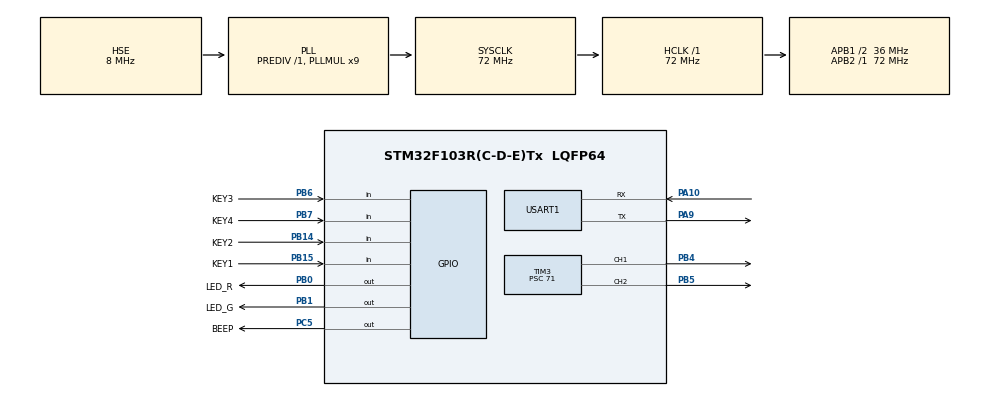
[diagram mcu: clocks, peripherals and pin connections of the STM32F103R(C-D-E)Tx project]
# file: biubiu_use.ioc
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Dma.Request0=USART1_RX
Dma.Request1=USART1_TX
Dma.USART1_RX.0.Direction=DMA_PERIPH_TO_MEMORY
Dma.USART1_RX.0.Instance=DMA1_Channel5
Dma.USART1_RX.0.MemDataAlignment=DMA_MDATAALIGN_BYTE
Dma.USART1_RX.0.MemInc=DMA_MINC_ENABLE
Dma.USART1_RX.0.Mode=DMA_NORMAL
Dma.USART1_RX.0.PeriphDataAlignment=DMA_PDATAALIGN_BYTE
Dma.USART1_RX.0.PeriphInc=DMA_PINC_DISABLE
Dma.USART1_RX.0.Priority=DMA_PRIORITY_LOW
Dma.USART1_TX.1.Direction=DMA_MEMORY_TO_PERIPH
Dma.USART1_TX.1.Instance=DMA1_Channel4
Dma.USART1_TX.1.MemDataAlignment=DMA_MDATAALIGN_BYTE
Dma.USART1_TX.1.MemInc=DMA_MINC_ENABLE
Dma.USART1_TX.1.Mode=DMA_NORMAL
Dma.USART1_TX.1.PeriphDataAlignment=DMA_PDATAALIGN_BYTE
Dma.USART1_TX.1.PeriphInc=DMA_PINC_DISABLE
Dma.USART1_TX.1.Priority=DMA_PRIORITY_LOW
FREERTOS.Tasks01=defaultTask,0,128,StartDefaultTask,Default,NULL,Dynamic,NULL,NULL;OLED_Task,-3,256,OLED_Task_fucation,Default,NULL,Dynamic,NULL,NULL;Uart_Task,0,256,Uart_Task_Function,Default,NULL,Dynamic,NULL,NULL;Servo_Task,-3,256,Servo_Task_Function,Default,NULL,Dynamic,NULL,NULL;LED_Task,-3,128,LED_Task_Function,Default,NULL,Dynamic,NULL,NULL;KEY_Task,1,128,KEY_Task_Function,Default,NULL,Dynamic,NULL,NULL;Black_line_Task,0,256,Black_line_Function,Default,NULL,Dynamic,NULL,NULL
FREERTOS.configTOTAL_HEAP_SIZE=20000
Mcu.Family=STM32F1
Mcu.Name=STM32F103R(C-D-E)Tx
Mcu.Package=LQFP64
NVIC.DMA1_Channel4_IRQn=true\:5\:0\:false\:false\:true\:true\:false\:true\:true
NVIC.DMA1_Channel5_IRQn=true\:5\:0\:false\:false\:true\:true\:false\:true\:true
NVIC.PriorityGroup=NVIC_PRIORITYGROUP_4
NVIC.TIM7_IRQn=true\:15\:0\:false\:false\:true\:false\:false\:true\:true
NVIC.TimeBase=TIM7_IRQn
NVIC.TimeBaseIP=TIM7
NVIC.USART1_IRQn=true\:5\:0\:false\:false\:true\:true\:true\:true\:true
PA10.Mode=Asynchronous
PA10.Signal=USART1_RX
PA13.Mode=Serial_Wire
PA13.Signal=SYS_JTMS-SWDIO
PA14.Mode=Serial_Wire
PA14.Signal=SYS_JTCK-SWCLK
PA9.Mode=Asynchronous
PA9.Signal=USART1_TX
PB0.GPIO_Label=LED_R
PB0.Signal=GPIO_Output
PB1.GPIO_Label=LED_G
PB1.Signal=GPIO_Output
PB14.GPIO_Label=KEY2
PB14.GPIO_PuPd=GPIO_PULLUP
PB14.Signal=GPIO_Input
PB15.GPIO_Label=KEY1
PB15.GPIO_PuPd=GPIO_PULLUP
PB15.Signal=GPIO_Input
PB4.Signal=S_TIM3_CH1
PB5.Signal=S_TIM3_CH2
PB6.GPIO_Label=KEY3
PB6.GPIO_PuPd=GPIO_PULLUP
PB6.Signal=GPIO_Input
PB7.GPIO_Label=KEY4
PB7.GPIO_PuPd=GPIO_PULLUP
PB7.Signal=GPIO_Input
PC5.GPIO_Label=BEEP
PC5.Signal=GPIO_Output
PD0-OSC_IN.Mode=HSE-External-Oscillator
PD0-OSC_IN.Signal=RCC_OSC_IN
PD1-OSC_OUT.Mode=HSE-External-Oscillator
PD1-OSC_OUT.Signal=RCC_OSC_OUT
ProjectManager.HeapSize=0x2000
ProjectManager.StackSize=0xF00
ProjectManager.TargetToolchain=MDK-ARM V5.32
RCC.AHBFreq_Value=72000000
RCC.APB1CLKDivider=RCC_HCLK_DIV2
RCC.APB1Freq_Value=36000000
RCC.APB1TimFreq_Value=72000000
RCC.APB2Freq_Value=72000000
RCC.APB2TimFreq_Value=72000000
RCC.HCLKFreq_Value=72000000
RCC.PLLMUL=RCC_PLL_MUL9
RCC.PLLSourceVirtual=RCC_PLLSOURCE_HSE
RCC.SYSCLKFreq_VALUE=72000000
RCC.SYSCLKSource=RCC_SYSCLKSOURCE_PLLCLK
RCC.USBFreq_Value=72000000
SH.S_TIM3_CH1.0=TIM3_CH1,PWM Generation1 CH1
SH.S_TIM3_CH2.0=TIM3_CH2,PWM Generation2 CH2
TIM3.Channel-PWM\ Generation1\ CH1=TIM_CHANNEL_1
TIM3.Channel-PWM\ Generation2\ CH2=TIM_CHANNEL_2
TIM3.Period=19999
TIM3.Prescaler=71
USART1.VirtualMode=VM_ASYNC
VP_FREERTOS_VS_CMSIS_V1.Mode=CMSIS_V1
VP_SYS_VS_tim7.Mode=TIM7
board=custom

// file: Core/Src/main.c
/* USER CODE BEGIN Header */
/**
  ******************************************************************************
  * @file           : main.c
  * @brief          : Main program body
  ******************************************************************************
  * @attention
  *
  * Copyright (c) 2023 STMicroelectronics.
  * All rights reserved.
  *
  * This software is licensed under terms that can be found in the LICENSE file
  * in the root directory of this software component.
  * If no LICENSE file comes with this software, it is provided AS-IS.
  *
  ******************************************************************************
  */
/* USER CODE END Header */
#include "main.h"
#include "cmsis_os.h"
#include "dma.h"
#include "tim.h"
#include "usart.h"
#include "gpio.h"

void SystemClock_Config(void);
void MX_FREERTOS_Init(void);

int main(void)
{

  /* MCU Configuration--------------------------------------------------------*/

  /* Reset of all peripherals, Initializes the Flash interface and the Systick. */
  HAL_Init();

  /* Configure the system clock */
  SystemClock_Config();

  /* Initialize all configured peripherals */
  MX_GPIO_Init();
  MX_DMA_Init();
  MX_USART1_UART_Init();
  MX_TIM3_Init();
  /* USER CODE BEGIN 2 */
    HAL_TIM_PWM_Start(&htim3,TIM_CHANNEL_1);
    HAL_TIM_PWM_Start(&htim3,TIM_CHANNEL_2);
    Linux_GPIO_Port->ODR|=Linux_Pin;
  /* USER CODE END 2 */

  /* Call init function for freertos objects (in freertos.c) */
  MX_FREERTOS_Init();

  /* Start scheduler */
  osKernelStart();

  /* We should never get here as control is now taken by the scheduler */
  /* Infinite loop */
  while (1)
  {

  }
}

void SystemClock_Config(void)
{
  RCC_OscInitTypeDef RCC_OscInitStruct = {0};
  RCC_ClkInitTypeDef RCC_ClkInitStruct = {0};

  /** Initializes the RCC Oscillators according to the specified parameters
  * in the RCC_OscInitTypeDef structure.
  */
  RCC_OscInitStruct.OscillatorType = RCC_OSCILLATORTYPE_HSE;
  RCC_OscInitStruct.HSEState = RCC_HSE_ON;
  RCC_OscInitStruct.HSEPredivValue = RCC_HSE_PREDIV_DIV1;
  RCC_OscInitStruct.HSIState = RCC_HSI_ON;
  RCC_OscInitStruct.PLL.PLLState = RCC_PLL_ON;
  RCC_OscInitStruct.PLL.PLLSource = RCC_PLLSOURCE_HSE;
  RCC_OscInitStruct.PLL.PLLMUL = RCC_PLL_MUL9;
  if (HAL_RCC_OscConfig(&RCC_OscInitStruct) != HAL_OK)
  {
    Error_Handler();
  }

  /** Initializes the CPU, AHB and APB buses clocks
  */
  RCC_ClkInitStruct.ClockType = RCC_CLOCKTYPE_HCLK|RCC_CLOCKTYPE_SYSCLK
                              |RCC_CLOCKTYPE_PCLK1|RCC_CLOCKTYPE_PCLK2;
  RCC_ClkInitStruct.SYSCLKSource = RCC_SYSCLKSOURCE_PLLCLK;
  RCC_ClkInitStruct.AHBCLKDivider = RCC_SYSCLK_DIV1;
  RCC_ClkInitStruct.APB1CLKDivider = RCC_HCLK_DIV2;
  RCC_ClkInitStruct.APB2CLKDivider = RCC_HCLK_DIV1;

  if (HAL_RCC_ClockConfig(&RCC_ClkInitStruct, FLASH_LATENCY_2) != HAL_OK)
  {
    Error_Handler();
  }
}

void HAL_TIM_PeriodElapsedCallback(TIM_HandleTypeDef *htim)
{
  if (htim->Instance == TIM7) {
    HAL_IncTick();
  }
}

void Error_Handler(void)
{
  __disable_irq();
  while (1)
  {
  }
}

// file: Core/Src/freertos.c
/* USER CODE BEGIN Header */
/**
  ******************************************************************************
  * File Name          : freertos.c
  * Description        : Code for freertos applications
  ******************************************************************************
  * @attention
  *
  * Copyright (c) 2023 STMicroelectronics.
  * All rights reserved.
  *
  * This software is licensed under terms that can be found in the LICENSE file
  * in the root directory of this software component.
  * If no LICENSE file comes with this software, it is provided AS-IS.
  *
  ******************************************************************************
  */
/* USER CODE END Header */

#include "FreeRTOS.h"
#include "task.h"
#include "main.h"
#include "cmsis_os.h"

/* USER CODE BEGIN Includes */
#include "dma.h"
#include "usart.h"
#include "fashion_star_uart_servo.h"
#include "ring_buffer.h"
/* USER CODE END Includes */

/* USER CODE BEGIN PD */

#define Back_X_Start 1665
#define Back_X_End   1330

#define Back_Y_Start 1338
#define Back_Y_End   1646

#define Black_X_Start 1525
#define Black_X_End   1334

#define Black_Y_Start 1338
#define Black_Y_End   1460

#define Back_Center_x   1488
#define Back_Center_y   1480 //1645

#define X TIM3->CCR1
#define Y TIM3->CCR2

typedef struct {
    uint16_t x;
    uint16_t y;
    uint16_t time;
}Servo_date;
typedef struct {
    int point_coord[4][2];
}point_date;
typedef struct {
    int point[2];
}red_point;
/* USER CODE END PD */

/* USER CODE BEGIN PM */
uint8_t usart_1_date[40] = {0};
uint8_t biu=0;
extern Usart_DataTypeDef usart2;

uint16_t x_biu=Back_Center_x,y_biu=Back_Center_y;
/* USER CODE END PM */

/* USER CODE BEGIN Variables */
QueueHandle_t   servo_Queue =NULL;
QueueHandle_t   point_Queue =NULL;
QueueHandle_t   redpoint_Queue =NULL;
SemaphoreHandle_t usart1_RX_Sem_Handle = NULL;
SemaphoreHandle_t Black_line_Sem_Handle = NULL;
/* USER CODE END Variables */
osThreadId defaultTaskHandle;
osThreadId OLED_TaskHandle;
osThreadId Uart_TaskHandle;
osThreadId Servo_TaskHandle;
osThreadId LED_TaskHandle;
osThreadId KEY_TaskHandle;
osThreadId Black_line_TaskHandle;

/* USER CODE BEGIN FunctionPrototypes */
void Servo_Ctrl(uint16_t x,uint16_t y,uint16_t time);
uint8_t point_do(int16_t x,int16_t y,int16_t a,int16_t b);
/* USER CODE END FunctionPrototypes */

void StartDefaultTask(void const * argument);
void OLED_Task_fucation(void const * argument);
void Uart_Task_Function(void const * argument);
void Servo_Task_Function(void const * argument);
void LED_Task_Function(void const * argument);
void KEY_Task_Function(void const * argument);
void Black_line_Function(void const * argument);

void MX_FREERTOS_Init(void); /* (MISRA C 2004 rule 8.1) */

/* GetIdleTaskMemory prototype (linked to static allocation support) */
void vApplicationGetIdleTaskMemory( StaticTask_t **ppxIdleTaskTCBBuffer, StackType_t **ppxIdleTaskStackBuffer, uint32_t *pulIdleTaskStackSize );

/* USER CODE BEGIN GET_IDLE_TASK_MEMORY */
static StaticTask_t xIdleTaskTCBBuffer;
static StackType_t xIdleStack[configMINIMAL_STACK_SIZE];

void vApplicationGetIdleTaskMemory( StaticTask_t **ppxIdleTaskTCBBuffer, StackType_t **ppxIdleTaskStackBuffer, uint32_t *pulIdleTaskStackSize )
{
  *ppxIdleTaskTCBBuffer = &xIdleTaskTCBBuffer;
  *ppxIdleTaskStackBuffer = &xIdleStack[0];
  *pulIdleTaskStackSize = configMINIMAL_STACK_SIZE;
  /* place for user code */
}
/* USER CODE END GET_IDLE_TASK_MEMORY */

void MX_FREERTOS_Init(void) {

  /* USER CODE BEGIN RTOS_QUEUES */
  /* add queues, ... */
    servo_Queue = xQueueCreate((UBaseType_t ) 1,/* 消息队列的长度 */
                            (UBaseType_t ) sizeof(Servo_date));/* 消息的大小 */
    point_Queue = xQueueCreate((UBaseType_t ) 1,/* 消息队列的长度 */
                            (UBaseType_t ) sizeof(point_date));/* 消息的大小 */
    redpoint_Queue = xQueueCreate((UBaseType_t ) 1,/* 消息队列的长度 */
                            (UBaseType_t ) sizeof(red_point));/* 消息的大小 */
    usart1_RX_Sem_Handle  = xSemaphoreCreateBinary();

    Black_line_Sem_Handle = xSemaphoreCreateBinary();
  /* USER CODE END RTOS_QUEUES */

  /* Create the thread(s) */
  /* definition and creation of defaultTask */
  osThreadDef(defaultTask, StartDefaultTask, osPriorityNormal, 0, 128);
  defaultTaskHandle = osThreadCreate(osThread(defaultTask), NULL);

  /* definition and creation of OLED_Task */
  osThreadDef(OLED_Task, OLED_Task_fucation, osPriorityIdle, 0, 256);
  OLED_TaskHandle = osThreadCreate(osThread(OLED_Task), NULL);

  /* definition and creation of Uart_Task */
  osThreadDef(Uart_Task, Uart_Task_Function, osPriorityNormal, 0, 256);
  Uart_TaskHandle = osThreadCreate(osThread(Uart_Task), NULL);

  /* definition and creation of Servo_Task */
  osThreadDef(Servo_Task, Servo_Task_Function, osPriorityIdle, 0, 256);
  Servo_TaskHandle = osThreadCreate(osThread(Servo_Task), NULL);

  /* definition and creation of LED_Task */
  osThreadDef(LED_Task, LED_Task_Function, osPriorityIdle, 0, 128);
  LED_TaskHandle = osThreadCreate(osThread(LED_Task), NULL);

  /* definition and creation of KEY_Task */
  osThreadDef(KEY_Task, KEY_Task_Function, osPriorityAboveNormal, 0, 128);
  KEY_TaskHandle = osThreadCreate(osThread(KEY_Task), NULL);

  /* definition and creation of Black_line_Task */
  osThreadDef(Black_line_Task, Black_line_Function, osPriorityNormal, 0, 256);
  Black_line_TaskHandle = osThreadCreate(osThread(Black_line_Task), NULL);

}

void StartDefaultTask(void const * argument)
{
  /* USER CODE BEGIN StartDefaultTask */
  /* Infinite loop */
  for(;;)
  {
      LED_R_GPIO_Port->ODR^=LED_R_Pin;
        osDelay(100);
  }
  /* USER CODE END StartDefaultTask */
}

void OLED_Task_fucation(void const * argument)
{
  for(;;)
  {
        osDelay(1);
  }
}

void Uart_Task_Function(void const * argument)
{
  /* USER CODE BEGIN Uart_Task_Function */
  /* Infinite loop */
    int i=0,num,sign=0,date_long=18,Rx_long=38,num_black=0;

    static point_date Point_coord;
    static red_point Red_point;
    static int last_x,last_y;
    HAL_UART_Receive_DMA(&huart1, usart_1_date, Rx_long);
  for(;;)
  {
    if(xSemaphoreTake(usart1_RX_Sem_Handle, 100)==pdTRUE) /* 等待时间 */
    {
        vTaskSuspendAll();
          for(i=0;i<date_long;i++)
          {
              if(usart_1_date[i]==0X2C)
              {
                  num=i;
                  if(usart_1_date[num+1]==0X12)
                  {
                      if(Rx_long==38)
                        sign=1;
                      else
                      {
                          sign=0;
                          Rx_long=38;
                          date_long=18;
                      }

                  }
                  else if(usart_1_date[num+1]==0X21)
                  {
                      sign=2;
                      date_long=7;
                      Rx_long=14;
                  }
                  else
                    sign=0;
                  break;
              }
              LED_G_GPIO_Port->ODR&=~LED_G_Pin;
              sign=0;
          }
          xTaskResumeAll();

          if(sign==1)
          {

              LED_G_GPIO_Port->ODR|=LED_G_Pin;

              Point_coord.point_coord[0][0]=(int)(((int)usart_1_date[i+3]<<8) + (int)usart_1_date[i+2]);
              if(Point_coord.point_coord[0][0]>500)
                  Point_coord.point_coord[0][0]|=0XFFFF0000;
              Point_coord.point_coord[0][1]=(int)(((int)usart_1_date[i+5]<<8) + (int)usart_1_date[i+4]);
              if(Point_coord.point_coord[0][1]>500)
                  Point_coord.point_coord[0][1]|=0XFFFF0000;
              Point_coord.point_coord[1][0]=(int)(((int)usart_1_date[i+7]<<8) + (int)usart_1_date[i+6]);
              if(Point_coord.point_coord[1][0]>500)
                  Point_coord.point_coord[1][0]|=0XFFFF0000;
              Point_coord.point_coord[1][1]=(int)(((int)usart_1_date[i+9]<<8) + (int)usart_1_date[i+8]);
                if(Point_coord.point_coord[1][1]>500)
                   Point_coord.point_coord[1][1]|=0XFFFF0000;
              Point_coord.point_coord[2][0]=(int)(((int)usart_1_date[i+11]<<8) + (int)usart_1_date[i+10]);
                if(Point_coord.point_coord[2][0]>500)
                                  Point_coord.point_coord[2][0]|=0XFFFF0000;
              Point_coord.point_coord[2][1]=(int)(((int)usart_1_date[i+13]<<8) + (int)usart_1_date[i+12]);
                if(Point_coord.point_coord[2][1]>500)
                                  Point_coord.point_coord[2][1]|=0XFFFF0000;
              Point_coord.point_coord[3][0]=(int)(((int)usart_1_date[i+15]<<8) + (int)usart_1_date[i+14]);
                if(Point_coord.point_coord[3][0]>500)
                                  Point_coord.point_coord[3][0]|=0XFFFF0000;
              Point_coord.point_coord[3][1]=(int)(((int)usart_1_date[i+17]<<8) + (int)usart_1_date[i+16]);
                if(Point_coord.point_coord[3][1]>500)
                                  Point_coord.point_coord[3][1]|=0XFFFF0000;

              xQueueSend(point_Queue,&Point_coord,0);

                num_black++;

                if(num_black>40)
                {
                    num_black=0;
                    Linux_GPIO_Port->ODR&=~Linux_Pin;
                    BEEP_GPIO_Port->ODR^=BEEP_Pin;
                    osDelay(200);
                    BEEP_GPIO_Port->ODR^=BEEP_Pin;
                    osDelay(200);
                    BEEP_GPIO_Port->ODR^=BEEP_Pin;
                    osDelay(200);
                    BEEP_GPIO_Port->ODR^=BEEP_Pin;
                    osDelay(200);
                }

          }
          if(sign==2)
          {
              Red_point.point[0]=(int)(((int)usart_1_date[i+3]<<8) + (int)usart_1_date[i+2]);
              if(Red_point.point[0]>500)
                  Red_point.point[0]|=0XFFFF0000;
              Red_point.point[1]=(int)(((int)usart_1_date[i+5]<<8) + (int)usart_1_date[i+4]);
              if(Red_point.point[1]>500)
                  Red_point.point[1]|=0XFFFF0000;
              if(abs(last_x-Red_point.point[0])>150||abs(last_y-Red_point.point[1])>150)
                       LED_G_GPIO_Port->ODR&=~LED_G_Pin;
                else
                {
                    xQueueSend(redpoint_Queue,&Red_point,0);
                    last_x=Red_point.point[0];
                    last_y=Red_point.point[1];
                    LED_G_GPIO_Port->ODR|=LED_G_Pin;
                }

          }

        HAL_UART_Receive_DMA(&huart1, usart_1_date, Rx_long);
    }
    else
    LED_G_GPIO_Port->ODR&=~LED_G_Pin;
    osDelay(1);
  }
  /* USER CODE END Uart_Task_Function */
}

/* USER CODE BEGIN Header_Servo_Task_Function */
/**
* @brief Function implementing the Servo_Task thread.
* @param argument: Not used
* @retval None
*/
#define num_use 12
/* USER CODE END Header_Servo_Task_Function */
void Servo_Task_Function(void const * argument)
{
  /* USER CODE BEGIN Servo_Task_Function */
  /* Infinite loop */
    X=Back_Center_x;
    Y=Back_Center_y;
    static Servo_date servo;
    float angle[2];
    uint16_t time_use, i = 0;
  for(;;)
  {
    xQueueReceive( servo_Queue,&servo,portMAX_DELAY);
    time_use = servo.time / num_use;
      angle[0]=((int)servo.x-(int)X)/num_use;
      angle[1]=((int)servo.y-(int)Y)/num_use;
      for(i=0;i<num_use;i++)
      {
          X+=angle[0];
          Y+=angle[1];
          osDelay(time_use);
      }
      X=servo.x;
      Y=servo.y;
      osDelay(100);

  }
  /* USER CODE END Servo_Task_Function */
}

void LED_Task_Function(void const * argument)
{
  /* USER CODE BEGIN LED_Task_Function */
  /* Infinite loop */
    red_point Red_cood;
    static point_date Point_coord;
    static point_date Point_coord2;
    uint8_t point_select=0;
  for(;;)
  {
      if(biu==0)
      {
          xSemaphoreTake(Black_line_Sem_Handle,portMAX_DELAY);
          xQueueReceive( point_Queue,&Point_coord,portMAX_DELAY);

          Point_coord2.point_coord[0][0]=(Point_coord.point_coord[0][0]+Point_coord.point_coord[1][0])/2;
          Point_coord2.point_coord[0][1]=(Point_coord.point_coord[0][1]+Point_coord.point_coord[1][1])/2;
          Point_coord2.point_coord[1][0]=(Point_coord.point_coord[1][0]+Point_coord.point_coord[2][0])/2;
          Point_coord2.point_coord[1][1]=(Point_coord.point_coord[1][1]+Point_coord.point_coord[2][1])/2;
          Point_coord2.point_coord[2][0]=(Point_coord.point_coord[2][0]+Point_coord.point_coord[3][0])/2;
          Point_coord2.point_coord[2][1]=(Point_coord.point_coord[2][1]+Point_coord.point_coord[3][1])/2;
          Point_coord2.point_coord[3][0]=(Point_coord.point_coord[3][0]+Point_coord.point_coord[0][0])/2;
          Point_coord2.point_coord[3][1]=(Point_coord.point_coord[3][1]+Point_coord.point_coord[0][1])/2;
      }
      xQueueReceive( redpoint_Queue,&Red_cood,portMAX_DELAY);
//      vTaskSuspendAll();
       switch(point_select)
       {
           case 1:
               if(point_do(Red_cood.point[0],Red_cood.point[1],Point_coord2.point_coord[0][0],Point_coord2.point_coord[0][1])==1)
               {
//                   xTaskResumeAll();
                   osDelay(100);
                   point_select++;
               }
               break;
           case 0:
               if(point_do(Red_cood.point[0],Red_cood.point[1],Point_coord.point_coord[0][0],Point_coord.point_coord[0][1])==1)
               {
//                   xTaskResumeAll();
                   osDelay(100);
                   point_select++;

               }
               break;
           case 3:
               if(point_do(Red_cood.point[0],Red_cood.point[1],Point_coord2.point_coord[1][0],Point_coord2.point_coord[1][1])==1)
               {
//                   xTaskResumeAll();
                   osDelay(100);
                   point_select++;
               }
               break;
           case 2:
               if(point_do(Red_cood.point[0],Red_cood.point[1],Point_coord.point_coord[1][0],Point_coord.point_coord[1][1])==1)
               {
//                   xTaskResumeAll();
                   osDelay(100);
                   point_select++;

               }
               break;
           case 5:
               if(point_do(Red_cood.point[0],Red_cood.point[1],Point_coord2.point_coord[2][0],Point_coord2.point_coord[2][1])==1)
               {
//                   xTaskResumeAll();
                   osDelay(100);
                   point_select++;
               }
               break;
           case 4:
               if(point_do(Red_cood.point[0],Red_cood.point[1],Point_coord.point_coord[2][0],Point_coord.point_coord[2][1])==1)
               {
//                   xTaskResumeAll();
                   osDelay(100);
                   point_select++;

               }
               break;
           case 7:
               if(point_do(Red_cood.point[0],Red_cood.point[1],Point_coord2.point_coord[3][0],Point_coord2.point_coord[3][1])==1)
               {
//                   xTaskResumeAll();
                   osDelay(100);
                   point_select++;
               }
               break;
           case 6:
               if(point_do(Red_cood.point[0],Red_cood.point[1],Point_coord.point_coord[3][0],Point_coord.point_coord[3][1])==1)
               {
//                   xTaskResumeAll();
                   osDelay(100);
                   point_select++;

               }
               break;

           default:
//               xTaskResumeAll();
               point_select=0;
//               biu=0;
               break;
       }
//       xTaskResumeAll();
      osDelay(120);
  }
  /* USER CODE END LED_Task_Function */
}

void KEY_Task_Function(void const * argument)
{
  /* USER CODE BEGIN KEY_Task_Function */
  /* Infinite loop */
    point_date Point_coord;

  for(;;)
  {
      xQueueReceive( point_Queue,&Point_coord,10);
      if(HAL_GPIO_ReadPin(KEY1_GPIO_Port,KEY1_Pin)==0)
      {
          while(HAL_GPIO_ReadPin(KEY1_GPIO_Port,KEY1_Pin)==0);

          Servo_Ctrl(Back_X_Start,Back_Y_Start,2000);
          osDelay(2000);
          Servo_Ctrl(Back_X_End,Back_Y_Start,2000);
          osDelay(2000);
          Servo_Ctrl(Back_X_End,Back_Y_End,2000);
          osDelay(2000);
          Servo_Ctrl(Back_X_Start,Back_Y_End,2000);
          osDelay(2000);
          Servo_Ctrl(Back_X_Start,Back_Y_Start,2000);
          osDelay(2000);
      }
      if(HAL_GPIO_ReadPin(KEY2_GPIO_Port,KEY2_Pin)==0)
      {
          osDelay(10);
          while(HAL_GPIO_ReadPin(KEY2_GPIO_Port,KEY2_Pin)==0);

          osDelay(1000);

          xSemaphoreGive(Black_line_Sem_Handle);
          xQueueSend(point_Queue,&Point_coord,0);
          biu=1;
      }
      //key3
      if(HAL_GPIO_ReadPin(KEY3_GPIO_Port,KEY3_Pin)==0)
      {
          osDelay(10);
          while(HAL_GPIO_ReadPin(KEY3_GPIO_Port,KEY3_Pin)==0);
          Servo_Ctrl(Black_X_End,Black_Y_Start,2000);
          osDelay(2000);
          Servo_Ctrl(Black_X_End,Black_Y_End,2000);
          osDelay(2000);
          Servo_Ctrl(Black_X_Start,Black_Y_End,2000);
          osDelay(2000);
          Servo_Ctrl(Black_X_Start,Black_Y_Start,2000);
          osDelay(2000);
          Servo_Ctrl(Black_X_End,Black_Y_Start,2000);
          osDelay(2000);
      }
      //key4
      if(HAL_GPIO_ReadPin(KEY4_GPIO_Port,KEY4_Pin)==0)
      {

          osDelay(10);
          while(HAL_GPIO_ReadPin(KEY4_GPIO_Port,KEY4_Pin)==0);
          osDelay(100);
          while(HAL_GPIO_ReadPin(KEY4_GPIO_Port,KEY4_Pin)==1);
          osDelay(1000);
      }
    osDelay(1);
  }
  /* USER CODE END KEY_Task_Function */
}

void Black_line_Function(void const * argument)
{
  /* USER CODE BEGIN Black_line_Function */
  /* Infinite loop */
    point_date Point_coord;
  for(;;)
  {
//      xSemaphoreTake(Black_line_Sem_Handle,portMAX_DELAY);
//      if(biu==1)
//      {
//          xQueueReceive( point_Queue,&Point_coord,portMAX_DELAY);
//          xQueueReceive( point_Queue,&Point_coord,portMAX_DELAY);
//          Servo_Ctrl(Back_Center_x + 3 - 1.44f *(float) Point_coord.point_coord[0][0],Back_Center_y - 3 - 1.20f * (float)Point_coord.point_coord[0][1],2000);
//          osDelay(3000);
//          Servo_Ctrl(Back_Center_x + 3 - 1.44f *(float) Point_coord.point_coord[1][0],Back_Center_y- 3 - 1.20f * (float)Point_coord.point_coord[1][1],2000);
//          osDelay(3000);
//          Servo_Ctrl(Back_Center_x + 3 - 1.44f *(float) Point_coord.point_coord[2][0],Back_Center_y- 3 - 1.20f * (float)Point_coord.point_coord[2][1],2000);
//          osDelay(3000);
//          Servo_Ctrl(Back_Center_x + 3 - 1.44f *(float) Point_coord.point_coord[3][0],Back_Center_y- 3 - 1.20f * (float)Point_coord.point_coord[3][1],2000);
//          osDelay(3000);
//          Servo_Ctrl(Back_Center_x + 3 - 1.44f *(float) Point_coord.point_coord[0][0],Back_Center_y - 3 - 1.20f * (float)Point_coord.point_coord[0][1],2000);
//          osDelay(3000);
//          biu=0;
//      }
      osDelay(100);
  }
  /* USER CODE END Black_line_Function */
}

/* USER CODE BEGIN Application */
void Servo_Ctrl(uint16_t x,uint16_t y,uint16_t time)
{
    Servo_date Servo;
    Servo.x=x;
    Servo.y=y;
    Servo.time=time;
    xQueueSend(servo_Queue,&Servo,0);
}
uint8_t point_do(int16_t x,int16_t y,int16_t a,int16_t b)
{

    static float K=0,d=0,out_x=0,out_y=0;

    int sign=0;
    float kp1=0.2,ki1=0.01,kp2=0.1,kp3=0.15,kp4=0.2,ki2=0.01;

    out_x=kp1*(a-x);
    out_y=kp1*(b-y);

    if(abs(a-x)>3)
    {
        X-=out_x;
    }
    else
        sign++;

    if(abs(b-y)>2)
    {
        Y+=out_y;
    }
    else
        sign++;
    if(sign==2)
    {
        return 1;
    }
    else
        return 0;

}
/* USER CODE END Application */
